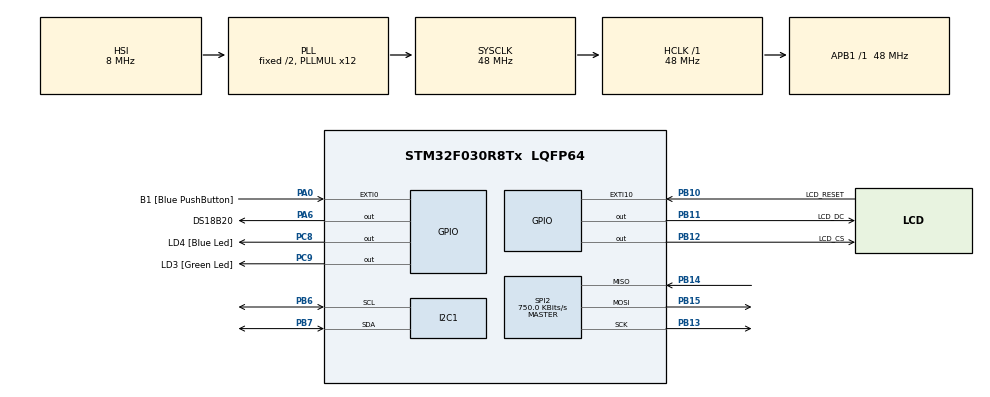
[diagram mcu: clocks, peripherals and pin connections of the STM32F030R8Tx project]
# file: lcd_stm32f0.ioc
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Dma.Request0=SPI2_RX
Dma.Request1=SPI2_TX
Dma.SPI2_RX.0.Direction=DMA_PERIPH_TO_MEMORY
Dma.SPI2_RX.0.Instance=DMA1_Channel4
Dma.SPI2_RX.0.MemDataAlignment=DMA_MDATAALIGN_BYTE
Dma.SPI2_RX.0.MemInc=DMA_MINC_ENABLE
Dma.SPI2_RX.0.Mode=DMA_NORMAL
Dma.SPI2_RX.0.PeriphDataAlignment=DMA_PDATAALIGN_BYTE
Dma.SPI2_RX.0.PeriphInc=DMA_PINC_DISABLE
Dma.SPI2_RX.0.Priority=DMA_PRIORITY_LOW
Dma.SPI2_TX.1.Direction=DMA_MEMORY_TO_PERIPH
Dma.SPI2_TX.1.Instance=DMA1_Channel5
Dma.SPI2_TX.1.MemDataAlignment=DMA_MDATAALIGN_BYTE
Dma.SPI2_TX.1.MemInc=DMA_MINC_ENABLE
Dma.SPI2_TX.1.Mode=DMA_NORMAL
Dma.SPI2_TX.1.PeriphDataAlignment=DMA_PDATAALIGN_BYTE
Dma.SPI2_TX.1.PeriphInc=DMA_PINC_DISABLE
Dma.SPI2_TX.1.Priority=DMA_PRIORITY_LOW
Mcu.Family=STM32F0
Mcu.Name=STM32F030R8Tx
Mcu.Package=LQFP64
NVIC.DMA1_Channel4_5_IRQn=true\:0\:0\:false\:false\:true\:false\:true\:true
PA0.GPIO_Label=B1 [Blue PushButton]
PA0.GPIO_ModeDefaultEXTI=GPIO_MODE_EVT_RISING
PA0.Signal=GPXTI0
PA13.GPIO_Label=SWDIO
PA13.Mode=Serial_Wire
PA13.Signal=SYS_SWDIO
PA14.GPIO_Label=SWCLK
PA14.Mode=Serial_Wire
PA14.Signal=SYS_SWCLK
PA6.GPIO_Label=DS18B20
PA6.Signal=GPIO_Output
PB10.GPIO_Label=LCD_RESET
PB10.Signal=GPXTI10
PB11.GPIO_Label=LCD_DC
PB11.Signal=GPIO_Output
PB12.GPIO_Label=LCD_CS
PB12.Signal=GPIO_Output
PB13.Mode=Full_Duplex_Master
PB13.Signal=SPI2_SCK
PB14.Mode=Full_Duplex_Master
PB14.Signal=SPI2_MISO
PB15.Mode=Full_Duplex_Master
PB15.Signal=SPI2_MOSI
PB6.Mode=I2C
PB6.Signal=I2C1_SCL
PB7.Mode=I2C
PB7.Signal=I2C1_SDA
PC8.GPIO_Label=LD4 [Blue Led]
PC8.Signal=GPIO_Output
PC9.GPIO_Label=LD3 [Green Led]
PC9.Signal=GPIO_Output
ProjectManager.HeapSize=0x200
ProjectManager.StackSize=0x400
ProjectManager.TargetToolchain=STM32CubeIDE
RCC.AHBFreq_Value=48000000
RCC.APB1Freq_Value=48000000
RCC.APB1TimFreq_Value=48000000
RCC.HCLKFreq_Value=48000000
RCC.PLLMUL=RCC_PLL_MUL12
RCC.SYSCLKFreq_VALUE=48000000
RCC.SYSCLKSource=RCC_SYSCLKSOURCE_PLLCLK
SPI2.BaudRatePrescaler=SPI_BAUDRATEPRESCALER_64
SPI2.CalculateBaudRate=750.0 KBits/s
SPI2.Direction=SPI_DIRECTION_2LINES
SPI2.Mode=SPI_MODE_MASTER
SPI2.VirtualType=VM_MASTER
TIM3.AutoReloadPreload=TIM_AUTORELOAD_PRELOAD_ENABLE
TIM3.Period=480
TIM3.Prescaler=10
VP_TIM3_VS_ClockSourceINT.Mode=Internal
board=STM32F0308-DISCO

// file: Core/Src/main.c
/* USER CODE BEGIN Header */
/**
  ******************************************************************************
  * @file           : main.c
  * @brief          : Main program body
  ******************************************************************************
  * @attention
  *
  * Copyright (c) 2022 STMicroelectronics.
  * All rights reserved.
  *
  * This software is licensed under terms that can be found in the LICENSE file
  * in the root directory of this software component.
  * If no LICENSE file comes with this software, it is provided AS-IS.
  *
  ******************************************************************************
  */
/* USER CODE END Header */
#include "main.h"

/* USER CODE BEGIN Includes */
#include "lcd_api.h"
#include "rct_api.h"
#include "ds18b20.h"
/* USER CODE END Includes */

 I2C_HandleTypeDef hi2c1;

SPI_HandleTypeDef hspi2;
DMA_HandleTypeDef hdma_spi2_rx;
DMA_HandleTypeDef hdma_spi2_tx;

TIM_HandleTypeDef htim3;

void SystemClock_Config(void);
static void MX_GPIO_Init(void);
static void MX_DMA_Init(void);
static void MX_SPI2_Init(void);
static void MX_I2C1_Init(void);
static void MX_TIM3_Init(void);

/* USER CODE BEGIN 0 */

uint8_t rtc_readRegister(uint8_t addr){
	const uint8_t single_byte_read  = 1;
	uint8_t out_data = 0;
  HAL_I2C_Mem_Read(&hi2c1, 0xD0|0X01, addr, single_byte_read, &out_data, single_byte_read, 100);
	return out_data;
}

uint8_t rtc_clock_start(uint8_t addr){
	const uint8_t single_byte_read  = 1;
	uint8_t out_data = 0;
  HAL_I2C_Mem_Write(&hi2c1, 0xD0, addr, single_byte_read, &out_data, single_byte_read, 100);
	return out_data;
}
/* USER CODE END 0 */

int main(void)
{

  /* MCU Configuration--------------------------------------------------------*/

  /* Reset of all peripherals, Initializes the Flash interface and the Systick. */
  HAL_Init();

  /* Configure the system clock */
  SystemClock_Config();

  /* Initialize all configured peripherals */
  MX_GPIO_Init();
  MX_DMA_Init();
  MX_SPI2_Init();
  MX_I2C1_Init();
  MX_TIM3_Init();
  /* USER CODE BEGIN 2 */
   #if 0
    BSP_LCD_Init();

#if 0
    BSP_LCD_SetTextColor(LCD_DEFAULT_TEXTCOLOR);
    BSP_LCD_SetFont(&Font24);
    BSP_LCD_DisplayStringAt(50,50, (uint8_t*)"Testing LCD", LEFT_MODE);
    BSP_LCD_SetFont(&LCD_DEFAULT_FONT);
    //BSP_LCD_DrawDigits(100,10,5);
 #endif

    #endif
 uint8_t hour[6]={0};
    uint32_t timeout[5] = {0};
    uint8_t hours=1,minutes=2,seconds=3,millis =4;
    hour[2]=':';
    uint32_t dsb_timeout = 0;
    float dsb_value;

    uint8_t rtc_data;
    uint32_t rtc_timeout = 0;

    date_time_t date_time;
    date_time.milliseconds = 0;
    date_time.seconds = 0;
    date_time.minutes = 0;
    date_time.hours = 0;
    rtc_set_time(date_time);
    memcpy(hour,"00:00",strlen("00:00"));

    Ds18b20_Init();
  /* USER CODE END 2 */

  /* Infinite loop */
  /* USER CODE BEGIN WHILE */
  while (1)
  {
#if 1
      if (HAL_GetTick() > dsb_timeout){
        dsb_timeout = HAL_GetTick()+ 1000;
        Ds18b20_ManualConvert();
      }
#endif

	   //   _DS18B20_TIMER.Instance->CNT = 0;
	   //   while(_DS18B20_TIMER.Instance->CNT <= 470);
       // GPIOA->ODR^=GPIO_PIN_6;

#if 0
      if (HAL_GetTick() > rtc_timeout){
          rtc_timeout = HAL_GetTick()+ 200;
           rtc_data = bcdToDec(rtc_readRegister(0)&0x7f);
           millis   =  (rtc_data%10);
           seconds  = (rtc_data)/10;
           rtc_data = bcdToDec(rtc_readRegister(0x01));
           minutes  = (rtc_data%10);
           hours    = (rtc_data/10);
           GPIOC->ODR ^=LD4_Pin;

      }

      if (HAL_GetTick() > timeout[0]){
          hour[4] = (millis%10)+'0';
          hour[3] = (seconds%10)+'0';
          hour[1] = (minutes%10)+'0';
          hour[0] = (hours%10)+'0';
         // BSP_LCD_DisplayDigits(70,80,hour);
      }
#endif

    /* USER CODE END WHILE */

  }
}

void SystemClock_Config(void)
{
  RCC_OscInitTypeDef RCC_OscInitStruct = {0};
  RCC_ClkInitTypeDef RCC_ClkInitStruct = {0};
  RCC_PeriphCLKInitTypeDef PeriphClkInit = {0};

  /** Initializes the RCC Oscillators according to the specified parameters
  * in the RCC_OscInitTypeDef structure.
  */
  RCC_OscInitStruct.OscillatorType = RCC_OSCILLATORTYPE_HSI;
  RCC_OscInitStruct.HSIState = RCC_HSI_ON;
  RCC_OscInitStruct.HSICalibrationValue = RCC_HSICALIBRATION_DEFAULT;
  RCC_OscInitStruct.PLL.PLLState = RCC_PLL_ON;
  RCC_OscInitStruct.PLL.PLLSource = RCC_PLLSOURCE_HSI;
  RCC_OscInitStruct.PLL.PLLMUL = RCC_PLL_MUL12;
  RCC_OscInitStruct.PLL.PREDIV = RCC_PREDIV_DIV1;
  if (HAL_RCC_OscConfig(&RCC_OscInitStruct) != HAL_OK)
  {
    Error_Handler();
  }

  /** Initializes the CPU, AHB and APB buses clocks
  */
  RCC_ClkInitStruct.ClockType = RCC_CLOCKTYPE_HCLK|RCC_CLOCKTYPE_SYSCLK
                              |RCC_CLOCKTYPE_PCLK1;
  RCC_ClkInitStruct.SYSCLKSource = RCC_SYSCLKSOURCE_PLLCLK;
  RCC_ClkInitStruct.AHBCLKDivider = RCC_SYSCLK_DIV1;
  RCC_ClkInitStruct.APB1CLKDivider = RCC_HCLK_DIV1;

  if (HAL_RCC_ClockConfig(&RCC_ClkInitStruct, FLASH_LATENCY_1) != HAL_OK)
  {
    Error_Handler();
  }
  PeriphClkInit.PeriphClockSelection = RCC_PERIPHCLK_I2C1;
  PeriphClkInit.I2c1ClockSelection = RCC_I2C1CLKSOURCE_HSI;
  if (HAL_RCCEx_PeriphCLKConfig(&PeriphClkInit) != HAL_OK)
  {
    Error_Handler();
  }
}

static void MX_I2C1_Init(void)
{

  hi2c1.Instance = I2C1;
  hi2c1.Init.Timing = 0x2000090E;
  hi2c1.Init.OwnAddress1 = 0;
  hi2c1.Init.AddressingMode = I2C_ADDRESSINGMODE_7BIT;
  hi2c1.Init.DualAddressMode = I2C_DUALADDRESS_DISABLE;
  hi2c1.Init.OwnAddress2 = 0;
  hi2c1.Init.OwnAddress2Masks = I2C_OA2_NOMASK;
  hi2c1.Init.GeneralCallMode = I2C_GENERALCALL_DISABLE;
  hi2c1.Init.NoStretchMode = I2C_NOSTRETCH_DISABLE;
  if (HAL_I2C_Init(&hi2c1) != HAL_OK)
  {
    Error_Handler();
  }

  /** Configure Analogue filter
  */
  if (HAL_I2CEx_ConfigAnalogFilter(&hi2c1, I2C_ANALOGFILTER_ENABLE) != HAL_OK)
  {
    Error_Handler();
  }

  /** Configure Digital filter
  */
  if (HAL_I2CEx_ConfigDigitalFilter(&hi2c1, 0) != HAL_OK)
  {
    Error_Handler();
  }

}

static void MX_SPI2_Init(void)
{

  /* SPI2 parameter configuration*/
  hspi2.Instance = SPI2;
  hspi2.Init.Mode = SPI_MODE_MASTER;
  hspi2.Init.Direction = SPI_DIRECTION_2LINES;
  hspi2.Init.DataSize = SPI_DATASIZE_4BIT;
  hspi2.Init.CLKPolarity = SPI_POLARITY_LOW;
  hspi2.Init.CLKPhase = SPI_PHASE_1EDGE;
  hspi2.Init.NSS = SPI_NSS_SOFT;
  hspi2.Init.BaudRatePrescaler = SPI_BAUDRATEPRESCALER_64;
  hspi2.Init.FirstBit = SPI_FIRSTBIT_MSB;
  hspi2.Init.TIMode = SPI_TIMODE_DISABLE;
  hspi2.Init.CRCCalculation = SPI_CRCCALCULATION_DISABLE;
  hspi2.Init.CRCPolynomial = 7;
  hspi2.Init.CRCLength = SPI_CRC_LENGTH_DATASIZE;
  hspi2.Init.NSSPMode = SPI_NSS_PULSE_ENABLE;
  if (HAL_SPI_Init(&hspi2) != HAL_OK)
  {
    Error_Handler();
  }

}

static void MX_TIM3_Init(void)
{

  TIM_ClockConfigTypeDef sClockSourceConfig = {0};
  TIM_MasterConfigTypeDef sMasterConfig = {0};

  htim3.Instance = TIM3;
  htim3.Init.Prescaler = 47;
  htim3.Init.CounterMode = TIM_COUNTERMODE_UP;
  htim3.Init.Period = 0xFFFF;
  htim3.Init.ClockDivision = TIM_CLOCKDIVISION_DIV1;
  htim3.Init.AutoReloadPreload = TIM_AUTORELOAD_PRELOAD_DISABLE;
  if (HAL_TIM_Base_Init(&htim3) != HAL_OK)
  {
    Error_Handler();
  }
  sClockSourceConfig.ClockSource = TIM_CLOCKSOURCE_INTERNAL;
  if (HAL_TIM_ConfigClockSource(&htim3, &sClockSourceConfig) != HAL_OK)
  {
    Error_Handler();
  }
  sMasterConfig.MasterOutputTrigger = TIM_TRGO_RESET;
  sMasterConfig.MasterSlaveMode = TIM_MASTERSLAVEMODE_DISABLE;
  if (HAL_TIMEx_MasterConfigSynchronization(&htim3, &sMasterConfig) != HAL_OK)
  {
    Error_Handler();
  }

}

static void MX_DMA_Init(void)
{

  /* DMA controller clock enable */
  __HAL_RCC_DMA1_CLK_ENABLE();

  /* DMA interrupt init */
  /* DMA1_Channel4_5_IRQn interrupt configuration */
  HAL_NVIC_SetPriority(DMA1_Channel4_5_IRQn, 0, 0);
  HAL_NVIC_EnableIRQ(DMA1_Channel4_5_IRQn);

}

static void MX_GPIO_Init(void)
{
  GPIO_InitTypeDef GPIO_InitStruct = {0};

  /* GPIO Ports Clock Enable */
  __HAL_RCC_GPIOA_CLK_ENABLE();
  __HAL_RCC_GPIOB_CLK_ENABLE();
  __HAL_RCC_GPIOC_CLK_ENABLE();

  /*Configure GPIO pin Output Level */
  HAL_GPIO_WritePin(DS18B20_GPIO_Port, DS18B20_Pin, GPIO_PIN_RESET);

  /*Configure GPIO pin Output Level */
  HAL_GPIO_WritePin(GPIOB, LCD_DC_Pin|LCD_CS_Pin, GPIO_PIN_RESET);

  /*Configure GPIO pin Output Level */
  HAL_GPIO_WritePin(GPIOC, LD4_Pin|LD3_Pin, GPIO_PIN_RESET);

  /*Configure GPIO pin : B1_Pin */
  GPIO_InitStruct.Pin = B1_Pin;
  GPIO_InitStruct.Mode = GPIO_MODE_EVT_RISING;
  GPIO_InitStruct.Pull = GPIO_NOPULL;
  HAL_GPIO_Init(B1_GPIO_Port, &GPIO_InitStruct);

  /*Configure GPIO pin : DS18B20_Pin */
  // GPIO_InitStruct.Pin = DS18B20_Pin;
  // GPIO_InitStruct.Mode = GPIO_MODE_OUTPUT_PP;
  // GPIO_InitStruct.Pull = GPIO_NOPULL;
  // GPIO_InitStruct.Speed = GPIO_SPEED_FREQ_LOW;
  // HAL_GPIO_Init(DS18B20_GPIO_Port, &GPIO_InitStruct);

  /*Configure GPIO pin : LCD_RESET_Pin */
  GPIO_InitStruct.Pin = LCD_RESET_Pin;
  GPIO_InitStruct.Mode = GPIO_MODE_IT_RISING;
  GPIO_InitStruct.Pull = GPIO_NOPULL;
  HAL_GPIO_Init(LCD_RESET_GPIO_Port, &GPIO_InitStruct);

  /*Configure GPIO pins : LCD_DC_Pin LCD_CS_Pin */
  GPIO_InitStruct.Pin = LCD_DC_Pin|LCD_CS_Pin;
  GPIO_InitStruct.Mode = GPIO_MODE_OUTPUT_PP;
  GPIO_InitStruct.Pull = GPIO_NOPULL;
  GPIO_InitStruct.Speed = GPIO_SPEED_FREQ_LOW;
  HAL_GPIO_Init(GPIOB, &GPIO_InitStruct);

  /*Configure GPIO pins : LD4_Pin LD3_Pin */
  GPIO_InitStruct.Pin = LD4_Pin|LD3_Pin;
  GPIO_InitStruct.Mode = GPIO_MODE_OUTPUT_PP;
  GPIO_InitStruct.Pull = GPIO_NOPULL;
  GPIO_InitStruct.Speed = GPIO_SPEED_FREQ_LOW;
  HAL_GPIO_Init(GPIOC, &GPIO_InitStruct);

}

void Error_Handler(void)
{
  __disable_irq();
  while (1)
  {
  }
}
